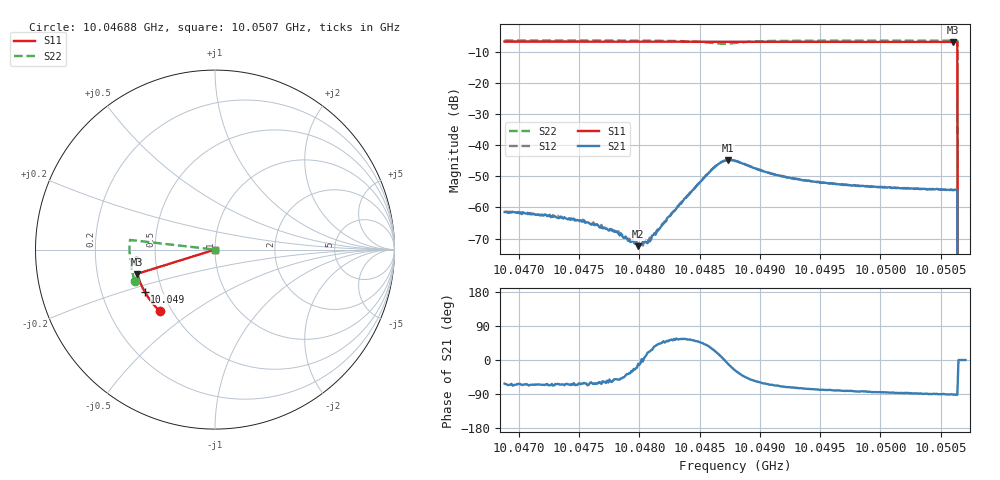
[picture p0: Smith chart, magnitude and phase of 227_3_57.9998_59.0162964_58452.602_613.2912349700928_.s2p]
#  HZ  S  RI  R  50.00
! Rohde & Schwarz Vector Network Analyzer
! Rohde-Schwarz,ZNB20-2Port,1311601062101988,3.16
! Created: UTC 3/21/2024, 1:00:24 AM
! freq[Hz]  re:S11  im:S11  re:S21  im:S21  re:S12  im:S12  re:S22  im:S22
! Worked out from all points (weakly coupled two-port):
!   401 points, 10.04688 GHz to 10.0507 GHz, reference 50 ohm
!   highest |S21| = -44.80 dB at 10.04874 GHz (marker M1); lowest = -72.4 dB at 10.04799 GHz (marker M2)
!   lowest |S11| = -6.9 dB at 10.0506 GHz (marker M3), VSWR 2.66, Z = 19.2 - j6.64 ohm
!   |S11| at or under -10 dB: 10.05064 GHz to end of sweep
!   |S22| runs from - to -6.4 dB; largest |S21 - S12| = 0.00041
!   S11 on the Smith chart (normalised r, x): 10.04688 GHz: 0.43, -0.38; 10.049 GHz: 0.40, -0.23; 10.0507 GHz: 1.00, +0.00
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1.0046883e10  -0.3065 -0.344  0.00039 -0.00075  0.000438 -0.000735  -0.4455 -0.1774
1.0047304e10  -0.3261 -0.3242  0.000324 -0.00064  0.000341 -0.000652  -0.4546 -0.15
1.0047523e10  -0.3357 -0.3134  0.000279 -0.000528  0.000295 -0.000532  -0.4585 -0.1349
1.00478e10  -0.3476 -0.2993  0.000256 -0.000313  0.00027 -0.000311  -0.4628 -0.1152
1.0047915e10  -0.3523 -0.2933  0.000241 -0.000168  0.000244 -0.000201  -0.4641 -0.1064
1.0047991e10  -0.3555 -0.2893  0.000236 -3.99e-05  0.000245 -3.43e-05  -0.4648 -0.1005
1.004801e10  -0.3563 -0.2882  0.00025 -3.43e-05  0.00028 -2.28e-05  -0.465 -0.0988
1.0048077e10  -0.3588 -0.2848  0.000278 0.000108  0.000262 0.000123  -0.4653 -0.0933
1.0048163e10  -0.3624 -0.2802  0.000326 0.000305  0.00031 0.000319  -0.4656 -0.0861
1.0048249e10  -0.3656 -0.2757  0.000439 0.000569  0.000404 0.000597  -0.4651 -0.0781
1.0048593e10  -0.378 -0.2565  0.00331 0.00206  0.00318 0.00229  -0.438 -0.0454
1.0048669e10  -0.3805 -0.2524  0.00506 0.00103  0.00505 0.00137  -0.4229 -0.0532
1.0048736e10  -0.3827 -0.2489  0.00566 -0.00104  0.00574 -0.000678  -0.4207 -0.0696
1.0048794e10  -0.3847 -0.2459  0.00496 -0.00257  0.00516 -0.00228  -0.4297 -0.0797
1.0049004e10  -0.3918 -0.234  0.002 -0.00337  0.00227 -0.00332  -0.4611 -0.0701
1.0049223e10  -0.3989 -0.2213  0.000948 -0.00286  0.00114 -0.00282  -0.4709 -0.0491
1.0049434e10  -0.4052 -0.2089  0.000609 -0.00255  0.000739 -0.00253  -0.4745 -0.0315
1.0050074e10  -0.4217 -0.1702  0.000151 -0.0021  0.000283 -0.00209  -0.4761 0.0154
1.0050599e10  -0.4326 -0.1375  -3.7e-05 -0.00191  5.75e-05 -0.0019  -0.4736 0.0515
1.0050618e10  -0.4331 -0.1364  -3.19e-05 -0.00192  4.8e-05 -0.00192  -0.4734 0.0526
1.0050666e10  0 0  0 0  0 0  0 0
1.0050704e10  0 0  0 0  0 0  0 0
